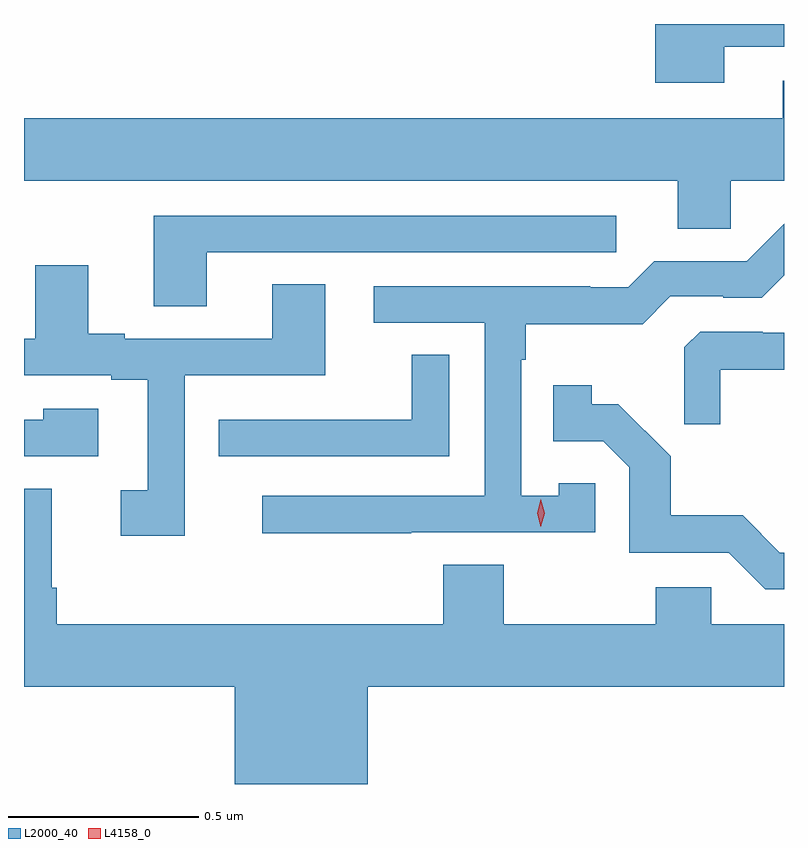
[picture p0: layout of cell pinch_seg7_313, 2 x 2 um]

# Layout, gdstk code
import gdstk
lib = gdstk.Library(unit=1e-6, precision=1e-09)
def P(c, l, *ps):  # polygons
    for p in ps: c.add(gdstk.Polygon(p, *l))
L2000_40 = (2000, 40)
L4158_0 = (4158, 0)

pinch_seg7_313 = lib.new_cell('pinch_seg7_313')
P(pinch_seg7_313, L2000_40, [(559.147,1071.564),(559.304,1071.564),(559.304,1071.624),(558.965,1071.624),(558.965,1071.47),(559.147,1071.47)],
  [(559.164,1071.212),(559.304,1071.212),(559.304,1071.475),(559.301,1071.475),(559.301,1071.376),(557.304,1071.376),(557.304,1071.212),(559.025,1071.212),(559.025,1071.085),(559.164,1071.085)],
  [(557.785,1071.024),(558.862,1071.024),(558.862,1071.12),(557.645,1071.12),(557.645,1070.881),(557.785,1070.881)],
  [(558.323,1070.286),(558.807,1070.286),(558.807,1070.415),(558.711,1070.415),(558.711,1070.383),(558.612,1070.383),(558.612,1070.741),(558.625,1070.741),(558.625,1070.834),(558.932,1070.834),(559.005,1070.907),(559.144,1070.907),(559.144,1070.904),(559.245,1070.904),(559.304,1070.963),(559.304,1071.098),(559.206,1071),(558.963,1071),(558.894,1070.931),(558.794,1070.931),(558.794,1070.934),(558.225,1070.934),(558.225,1070.838),(558.516,1070.838),(558.516,1070.382),(557.931,1070.382),(557.931,1070.284),(558.323,1070.284)],
  [(557.727,1070.7),(558.097,1070.7),(558.097,1070.939),(557.957,1070.939),(557.957,1070.796),(557.569,1070.796),(557.569,1070.809),(557.473,1070.809),(557.473,1070.989),(557.333,1070.989),(557.333,1070.796),(557.304,1070.796),(557.304,1070.7),(557.534,1070.7),(557.534,1070.688),(557.63,1070.688),(557.63,1070.397),(557.559,1070.397),(557.559,1070.277),(557.727,1070.277)],
  [(559.136,1070.714),(559.304,1070.714),(559.304,1070.811),(559.248,1070.811),(559.248,1070.814),(559.083,1070.814),(559.042,1070.773),(559.042,1070.571),(559.136,1070.571)],
  [(558.423,1070.753),(558.325,1070.753),(558.325,1070.583),(557.929,1070.583),(557.929,1070.582),(557.817,1070.582),(557.817,1070.487),(558.423,1070.487)],
  [(559.304,1070.232),(559.293,1070.232),(559.195,1070.331),(559.006,1070.331),(559.006,1070.486),(558.868,1070.624),(558.798,1070.624),(558.798,1070.674),(558.697,1070.674),(558.697,1070.526),(558.828,1070.526),(558.897,1070.457),(558.897,1070.232),(559.158,1070.232),(559.254,1070.136),(559.304,1070.136)],
  [(557.5,1070.611),(557.355,1070.611),(557.355,1070.583),(557.304,1070.583),(557.304,1070.487),(557.5,1070.487)],
  [(558.208,1069.88),(559.304,1069.88),(559.304,1070.044),(559.113,1070.044),(559.113,1070.142),(558.967,1070.142),(558.967,1070.044),(558.567,1070.044),(558.567,1070.201),(558.407,1070.201),(558.407,1070.044),(557.39,1070.044),(557.39,1070.14),(557.377,1070.14),(557.377,1070.401),(557.304,1070.401),(557.304,1069.88),(557.858,1069.88),(557.858,1069.624),(558.208,1069.624)])
P(pinch_seg7_313, L4158_0, [(558.664,1070.301),(558.664,1070.301),(558.654,1070.337),(558.664,1070.373),(558.664,1070.373),(558.664,1070.373),(558.674,1070.337),(558.664,1070.301)])

lib.write_gds('pinch_seg7_313.gds')
